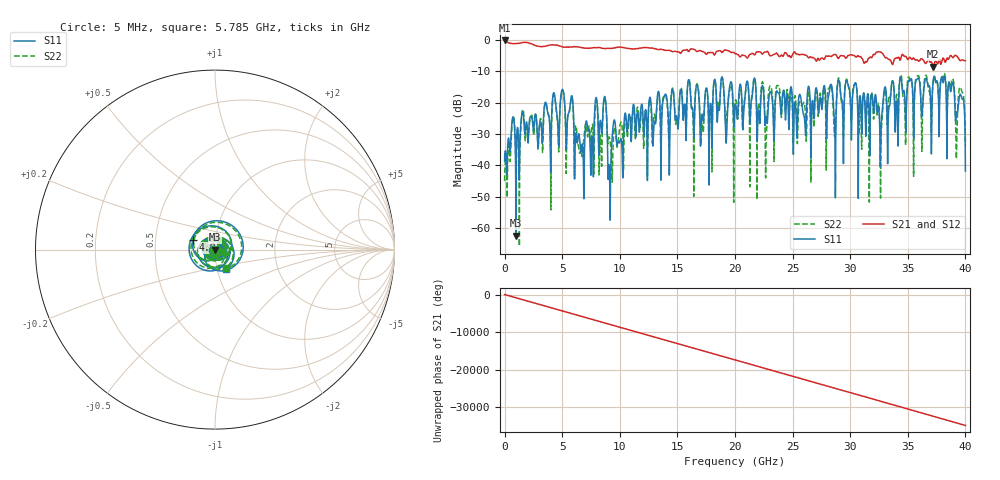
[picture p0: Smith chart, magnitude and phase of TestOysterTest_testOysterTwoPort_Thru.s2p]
! File created by SignalIntegrity v1.1.1: Signal and Power Integrity Tools
! https://github.com/TeledyneLeCroy/SignalIntegrity
# MHz MA S R 50.0
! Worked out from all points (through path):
!   8000 points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, 5 MHz to 40 GHz, reference 50 ohm
!   highest |S21| = -0.09 dB at 5 MHz (marker M1); lowest = -8.5 dB at 37.21 GHz (marker M2)
!   group delay of S21, straight-line fit = 2.42 ns
!   lowest |S11| = -62.5 dB at 985 MHz (marker M3), VSWR 1.00, Z = 50 - j0.0732 ohm
!   |S11| at or under -10 dB: start of sweep to end of sweep
!   |S22| runs from -65.8 to -10.6 dB; largest |S21 - S12| = 0.0017
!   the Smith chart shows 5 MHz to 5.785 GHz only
!   S11 on the Smith chart (normalised r, x): 5 MHz: 0.98, -0.00; 4.9 GHz: 0.78, +0.08; 5.785 GHz: 1.11, -0.24
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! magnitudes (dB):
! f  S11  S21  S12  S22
! 5 MHz  -38.6  -0.1  -0.1  -45.0
! 985 MHz  -62.5  -1.1  -1.1  -43.6
! 4.9 GHz  -17.4  -2.0  -2.0  -17.8
! 5.785 GHz  -18.1  -2.2  -2.2  -18.6
! 6.675 GHz  -34.9  -2.4  -2.4  -36.0
! 7.975 GHz  -18.5  -2.4  -2.4  -19.1
! 8.33 GHz  -25.7  -2.4  -2.4  -30.5
! 8.695 GHz  -18.0  -2.7  -2.7  -18.5
! 9.13 GHz  -46.0  -2.6  -2.6  -31.5
! 9.5 GHz  -25.6  -2.5  -2.5  -28.7
! 13.34 GHz  -16.4  -3.0  -3.0  -17.0
! 20 GHz  -20.9  -4.3  -4.3  -19.9
! 21.64 GHz  -12.6  -4.5  -4.5  -12.4
! 22.7 GHz  -24.3  -3.7  -3.7  -32.5
! 23.72 GHz  -16.8  -4.7  -4.7  -14.5
! 26.67 GHz  -21.7  -5.6  -5.6  -21.6
! 29.74 GHz  -13.2  -5.2  -5.2  -12.8
! 30.86 GHz  -17.7  -5.2  -5.2  -20.6
! 33.34 GHz  -22.8  -6.1  -6.1  -18.8
! 37.21 GHz  -12.9  -8.5  -8.5  -13.0
! 39.68 GHz  -18.6  -6.3  -6.3  -16.3
! 40 GHz  -41.8  -6.6  -6.6  -33.6
